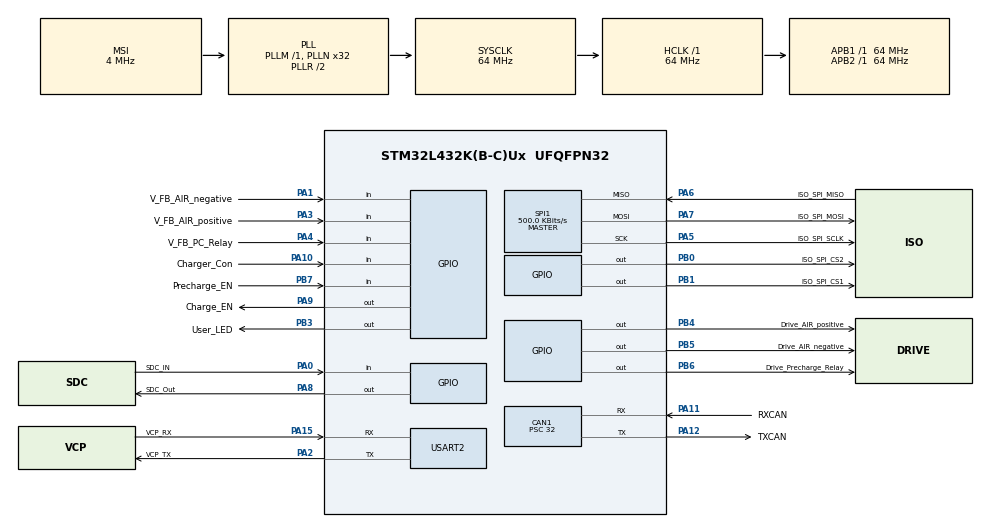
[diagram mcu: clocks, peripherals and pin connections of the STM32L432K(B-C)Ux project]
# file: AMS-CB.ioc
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CAN1.AWUM=ENABLE
CAN1.BS1=CAN_BS1_2TQ
CAN1.CalculateBaudRate=500000
CAN1.CalculateTimeBit=2000
CAN1.CalculateTimeQuantum=500.0
CAN1.NART=ENABLE
CAN1.Prescaler=32
CAN1.SJW=CAN_SJW_1TQ
Dma.Request0=USART2_TX
Dma.USART2_TX.0.Direction=DMA_MEMORY_TO_PERIPH
Dma.USART2_TX.0.Instance=DMA1_Channel7
Dma.USART2_TX.0.MemDataAlignment=DMA_MDATAALIGN_BYTE
Dma.USART2_TX.0.MemInc=DMA_MINC_ENABLE
Dma.USART2_TX.0.Mode=DMA_NORMAL
Dma.USART2_TX.0.PeriphDataAlignment=DMA_PDATAALIGN_BYTE
Dma.USART2_TX.0.PeriphInc=DMA_PINC_DISABLE
Dma.USART2_TX.0.Priority=DMA_PRIORITY_LOW
Mcu.Family=STM32L4
Mcu.Name=STM32L432K(B-C)Ux
Mcu.Package=UFQFPN32
NVIC.DMA1_Channel7_IRQn=true\:0\:0\:false\:false\:true\:false\:true\:true
NVIC.PriorityGroup=NVIC_PRIORITYGROUP_4
NVIC.TIM7_IRQn=true\:0\:0\:false\:false\:true\:true\:true\:true
NVIC.USART2_IRQn=true\:0\:0\:false\:false\:true\:true\:true\:true
PA0.GPIO_Label=SDC_IN
PA0.Signal=GPIO_Input
PA1.GPIO_Label=V_FB_AIR_negative
PA1.Signal=GPIO_Input
PA10.GPIO_Label=Charger_Con 
PA10.Signal=GPIO_Input
PA11.GPIO_Label=RXCAN 
PA11.Mode=CAN_Activate
PA11.Signal=CAN1_RX
PA12.GPIO_Label=TXCAN 
PA12.Mode=CAN_Activate
PA12.Signal=CAN1_TX
PA13\ (JTMS-SWDIO).GPIO_Label=SWDIO
PA13\ (JTMS-SWDIO).Mode=Serial_Wire
PA13\ (JTMS-SWDIO).Signal=SYS_JTMS-SWDIO
PA14\ (JTCK-SWCLK).GPIO_Label=SWCLK
PA14\ (JTCK-SWCLK).Mode=Serial_Wire
PA14\ (JTCK-SWCLK).Signal=SYS_JTCK-SWCLK
PA15\ (JTDI).GPIO_Label=VCP_RX
PA15\ (JTDI).Mode=Asynchronous
PA15\ (JTDI).Signal=USART2_RX
PA2.GPIO_Label=VCP_TX
PA2.Mode=Asynchronous
PA2.Signal=USART2_TX
PA3.GPIO_Label=V_FB_AIR_positive
PA3.Signal=GPIO_Input
PA4.GPIO_Label=V_FB_PC_Relay
PA4.Signal=GPIO_Input
PA5.GPIO_Label=ISO_SPI_SCLK 
PA5.Mode=Full_Duplex_Master
PA5.Signal=SPI1_SCK
PA6.GPIO_Label=ISO_SPI_MISO 
PA6.GPIO_PuPd=GPIO_PULLUP
PA6.Mode=Full_Duplex_Master
PA6.Signal=SPI1_MISO
PA7.GPIO_Label=ISO_SPI_MOSI 
PA7.Mode=Full_Duplex_Master
PA7.Signal=SPI1_MOSI
PA8.GPIO_Label=SDC_Out 
PA8.Signal=GPIO_Output
PA9.GPIO_Label=Charge_EN 
PA9.Signal=GPIO_Output
PB0.GPIO_Label=ISO_SPI_CS2
PB0.PinState=GPIO_PIN_SET
PB0.Signal=GPIO_Output
PB1.GPIO_Label=ISO_SPI_CS1
PB1.PinState=GPIO_PIN_SET
PB1.Signal=GPIO_Output
PB3\ (JTDO-TRACESWO).GPIO_Label=User_LED
PB3\ (JTDO-TRACESWO).Signal=GPIO_Output
PB4\ (NJTRST).GPIO_Label=Drive_AIR_positive 
PB4\ (NJTRST).Signal=GPIO_Output
PB5.GPIO_Label=Drive_AIR_negative 
PB5.Signal=GPIO_Output
PB6.GPIO_Label=Drive_Precharge_Relay 
PB6.Signal=GPIO_Output
PB7.GPIO_Label=Precharge_EN
PB7.Signal=GPIO_Input
PC14-OSC32_IN\ (PC14).Mode=LSE-External-Oscillator
PC14-OSC32_IN\ (PC14).Signal=RCC_OSC32_IN
PC15-OSC32_OUT\ (PC15).Mode=LSE-External-Oscillator
PC15-OSC32_OUT\ (PC15).Signal=RCC_OSC32_OUT
ProjectManager.HeapSize=0x200
ProjectManager.StackSize=0x400
ProjectManager.TargetToolchain=STM32CubeIDE
RCC.ADCFreq_Value=32000000
RCC.AHBFreq_Value=64000000
RCC.APB1Freq_Value=64000000
RCC.APB1TimFreq_Value=64000000
RCC.APB2Freq_Value=64000000
RCC.APB2TimFreq_Value=64000000
RCC.CortexFreq_Value=64000000
RCC.HCLKFreq_Value=64000000
RCC.HSE_VALUE=8000000
RCC.HSI16_VALUE=16000000
RCC.HSI48_VALUE=48000000
RCC.HSI_VALUE=16000000
RCC.MSI_VALUE=4000000
RCC.PLLMUL=RCC_PLLMUL_4
RCC.PLLN=32
RCC.PLLSAI1N=16
RCC.SYSCLKFreq_VALUE=64000000
RCC.SYSCLKSource=RCC_SYSCLKSOURCE_PLLCLK
RCC.USBFreq_Value=32000000
RCC.VCOOutputFreq_Value=128000000
SPI1.BaudRatePrescaler=SPI_BAUDRATEPRESCALER_128
SPI1.CLKPhase=SPI_PHASE_1EDGE
SPI1.CLKPolarity=SPI_POLARITY_LOW
SPI1.CalculateBaudRate=500.0 KBits/s
SPI1.DataSize=SPI_DATASIZE_8BIT
SPI1.Direction=SPI_DIRECTION_2LINES
SPI1.Mode=SPI_MODE_MASTER
SPI1.NSSPMode=SPI_NSS_PULSE_DISABLE
SPI1.VirtualType=VM_MASTER
TIM16.Prescaler=64000
TIM6.AutoReloadPreload=TIM_AUTORELOAD_PRELOAD_ENABLE
TIM6.Period=100
TIM6.Prescaler=64000
TIM6.TIM_MasterOutputTrigger=TIM_TRGO_RESET
TIM7.AutoReloadPreload=TIM_AUTORELOAD_PRELOAD_DISABLE
TIM7.Period=500
TIM7.Prescaler=64000
USART2.VirtualMode-Asynchronous=VM_ASYNC
VP_TIM16_VS_ClockSourceINT.Mode=Enable_Timer
VP_TIM6_VS_ClockSourceINT.Mode=Enable_Timer
VP_TIM7_VS_ClockSourceINT.Mode=Enable_Timer
board=NUCLEO-L432KC

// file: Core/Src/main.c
/* USER CODE BEGIN Header */
/**
  ******************************************************************************
  * @file           : main.c
  * @brief          : Main program body
  ******************************************************************************
  * @attention
  *
  * Copyright (c) 2024 STMicroelectronics.
  * All rights reserved.
  *
  * This software is licensed under terms that can be found in the LICENSE file
  * in the root directory of this software component.
  * If no LICENSE file comes with this software, it is provided AS-IS.
  *
  ******************************************************************************
  */
/* USER CODE END Header */
#include "main.h"

/* USER CODE BEGIN Includes */
#include <stdio.h>
#include <string.h>

//#include "SPI_MB.h"
#include "serial_monitor.h"
#include "battery.h"
#include "CAN_Bus.h"
/* USER CODE END Includes */

CAN_HandleTypeDef hcan1;

SPI_HandleTypeDef hspi1;

TIM_HandleTypeDef htim6;
TIM_HandleTypeDef htim7;
TIM_HandleTypeDef htim16;

UART_HandleTypeDef huart2;
DMA_HandleTypeDef hdma_usart2_tx;

void SystemClock_Config(void);
static void MX_GPIO_Init(void);
static void MX_DMA_Init(void);
static void MX_USART2_UART_Init(void);
static void MX_CAN1_Init(void);
static void MX_SPI1_Init(void);
static void MX_TIM6_Init(void);
static void MX_TIM7_Init(void);
static void MX_TIM16_Init(void);
/* USER CODE BEGIN PFP */

void HAL_TIM_PeriodElapsedCallback(TIM_HandleTypeDef *htim);

/* USER CODE END PFP */

int main(void)
{

  /* MCU Configuration--------------------------------------------------------*/

  /* Reset of all peripherals, Initializes the Flash interface and the Systick. */
  HAL_Init();

  /* Configure the system clock */
  SystemClock_Config();

  /* Initialize all configured peripherals */
  MX_GPIO_Init();
  MX_DMA_Init();
  MX_USART2_UART_Init();
  MX_CAN1_Init();
  MX_SPI1_Init();
  MX_TIM6_Init();
  MX_TIM7_Init();
  MX_TIM16_Init();
  /* USER CODE BEGIN 2 */

  // User Variables
  uint16_t GPIOA_Input = 0x0000;

  //>> Current measurement init
  ISA_IVT_Init();

  //>> SDC reset
  set_relays(0);
  SDC_reset();

  /* USER CODE END 2 */

  /* Infinite loop */
  /* USER CODE BEGIN WHILE */
  while (1)
  {
	//HAL_IWDG_Refresh(&hiwdg);		// optional System Watchdog

	//>> check 10 Hz Flag, timer 6
	if ((TIM6->SR & TIM_SR_UIF) != 0) {
		TIM6->SR &= ~TIM_SR_UIF;	// Clear the overflow flag
		// This code runs every 100ms

		//>> GPIOs lesen
		GPIOA_Input = GPIOA->IDR;

		//>> Check-Batterie
		check_battery();
		check_SDC_Feedback(GPIOA_Input);

		//>> charging logic
		charging(GPIOA_Input);

		//>> send system information to the ECU
		send_data2ECU(GPIOA_Input);

		//>> send the BatterySystem struct to the external Device via COM-Port
		SerialMonitor((uint8_t*)(&battery_values), sizeof(battery_values));

		//>> reset error flags after transmisson
		battery_reset_error_flags();

		set_time_per_measurement(TIM6->CNT + 100*((TIM6->SR & TIM_SR_UIF) != 0));

	}else{
		// outside 10Hz timer 6

		//>> receive one CAN command
		CAN_receive_packet();

	}
    /* USER CODE END WHILE */

  }
}

void SystemClock_Config(void)
{
  RCC_OscInitTypeDef RCC_OscInitStruct = {0};
  RCC_ClkInitTypeDef RCC_ClkInitStruct = {0};

  /** Configure the main internal regulator output voltage
  */
  if (HAL_PWREx_ControlVoltageScaling(PWR_REGULATOR_VOLTAGE_SCALE1) != HAL_OK)
  {
    Error_Handler();
  }

  /** Configure LSE Drive Capability
  */
  HAL_PWR_EnableBkUpAccess();
  __HAL_RCC_LSEDRIVE_CONFIG(RCC_LSEDRIVE_LOW);

  /** Initializes the RCC Oscillators according to the specified parameters
  * in the RCC_OscInitTypeDef structure.
  */
  RCC_OscInitStruct.OscillatorType = RCC_OSCILLATORTYPE_LSE|RCC_OSCILLATORTYPE_MSI;
  RCC_OscInitStruct.LSEState = RCC_LSE_ON;
  RCC_OscInitStruct.MSIState = RCC_MSI_ON;
  RCC_OscInitStruct.MSICalibrationValue = 0;
  RCC_OscInitStruct.MSIClockRange = RCC_MSIRANGE_6;
  RCC_OscInitStruct.PLL.PLLState = RCC_PLL_ON;
  RCC_OscInitStruct.PLL.PLLSource = RCC_PLLSOURCE_MSI;
  RCC_OscInitStruct.PLL.PLLM = 1;
  RCC_OscInitStruct.PLL.PLLN = 32;
  RCC_OscInitStruct.PLL.PLLP = RCC_PLLP_DIV7;
  RCC_OscInitStruct.PLL.PLLQ = RCC_PLLQ_DIV2;
  RCC_OscInitStruct.PLL.PLLR = RCC_PLLR_DIV2;
  if (HAL_RCC_OscConfig(&RCC_OscInitStruct) != HAL_OK)
  {
    Error_Handler();
  }

  /** Initializes the CPU, AHB and APB buses clocks
  */
  RCC_ClkInitStruct.ClockType = RCC_CLOCKTYPE_HCLK|RCC_CLOCKTYPE_SYSCLK
                              |RCC_CLOCKTYPE_PCLK1|RCC_CLOCKTYPE_PCLK2;
  RCC_ClkInitStruct.SYSCLKSource = RCC_SYSCLKSOURCE_PLLCLK;
  RCC_ClkInitStruct.AHBCLKDivider = RCC_SYSCLK_DIV1;
  RCC_ClkInitStruct.APB1CLKDivider = RCC_HCLK_DIV1;
  RCC_ClkInitStruct.APB2CLKDivider = RCC_HCLK_DIV1;

  if (HAL_RCC_ClockConfig(&RCC_ClkInitStruct, FLASH_LATENCY_3) != HAL_OK)
  {
    Error_Handler();
  }

  /** Enable MSI Auto calibration
  */
  HAL_RCCEx_EnableMSIPLLMode();
}

static void MX_CAN1_Init(void)
{

  hcan1.Instance = CAN1;
  hcan1.Init.Prescaler = 32;
  hcan1.Init.Mode = CAN_MODE_NORMAL;
  hcan1.Init.SyncJumpWidth = CAN_SJW_1TQ;
  hcan1.Init.TimeSeg1 = CAN_BS1_2TQ;
  hcan1.Init.TimeSeg2 = CAN_BS2_1TQ;
  hcan1.Init.TimeTriggeredMode = DISABLE;
  hcan1.Init.AutoBusOff = DISABLE;
  hcan1.Init.AutoWakeUp = ENABLE;
  hcan1.Init.AutoRetransmission = ENABLE;
  hcan1.Init.ReceiveFifoLocked = DISABLE;
  hcan1.Init.TransmitFifoPriority = DISABLE;
  if (HAL_CAN_Init(&hcan1) != HAL_OK)
  {
    Error_Handler();
  }
  /* USER CODE BEGIN CAN1_Init 2 */

  CAN_FilterTypeDef sFilterConfig;
  // Configure Filter for ECU on FIFO 0
  sFilterConfig.FilterBank = 0; // Use first filter bank
  sFilterConfig.FilterMode = CAN_FILTERMODE_IDLIST;
  sFilterConfig.FilterScale = CAN_FILTERSCALE_16BIT;
  sFilterConfig.FilterIdHigh = ADDR_ECU_RX << 5;
  sFilterConfig.FilterIdLow =  0x0000;
  sFilterConfig.FilterMaskIdHigh = 0x0000;
  sFilterConfig.FilterMaskIdLow = 0x0000;
  sFilterConfig.FilterFIFOAssignment = CAN_RX_FIFO0;
  sFilterConfig.FilterActivation = ENABLE;
  sFilterConfig.SlaveStartFilterBank = 14; // Only necessary for dual CAN setups

  HAL_StatusTypeDef init_status = HAL_CAN_ConfigFilter(&hcan1, &sFilterConfig);
  // Configure Filter for IVS on FIFO 1
  sFilterConfig.FilterBank = 1; // Use second filter bank
  sFilterConfig.FilterMode = 	CAN_FILTERMODE_IDLIST;
  sFilterConfig.FilterScale = 	CAN_FILTERSCALE_16BIT;
  sFilterConfig.FilterIdHigh = 		IVT_MSG_RESPONSE << 5;
  sFilterConfig.FilterIdLow =  		IVT_MSG_RESULT_I << 5;
  sFilterConfig.FilterMaskIdHigh = 	IVT_MSG_RESULT_T << 5;
  sFilterConfig.FilterMaskIdLow = 	IVT_MSG_RESULT_AS << 5;
  sFilterConfig.FilterFIFOAssignment = CAN_RX_FIFO1;
  sFilterConfig.FilterActivation = ENABLE;

  init_status |= HAL_CAN_ConfigFilter(&hcan1, &sFilterConfig);
  init_status |= HAL_CAN_Start(&hcan1); //start CAN

  if (init_status != HAL_OK)
  {
    Error_Handler();
  }

  /* USER CODE END CAN1_Init 2 */

}

static void MX_SPI1_Init(void)
{

  /* SPI1 parameter configuration*/
  hspi1.Instance = SPI1;
  hspi1.Init.Mode = SPI_MODE_MASTER;
  hspi1.Init.Direction = SPI_DIRECTION_2LINES;
  hspi1.Init.DataSize = SPI_DATASIZE_8BIT;
  hspi1.Init.CLKPolarity = SPI_POLARITY_LOW;
  hspi1.Init.CLKPhase = SPI_PHASE_1EDGE;
  hspi1.Init.NSS = SPI_NSS_SOFT;
  hspi1.Init.BaudRatePrescaler = SPI_BAUDRATEPRESCALER_128;
  hspi1.Init.FirstBit = SPI_FIRSTBIT_MSB;
  hspi1.Init.TIMode = SPI_TIMODE_DISABLE;
  hspi1.Init.CRCCalculation = SPI_CRCCALCULATION_DISABLE;
  hspi1.Init.CRCPolynomial = 7;
  hspi1.Init.CRCLength = SPI_CRC_LENGTH_DATASIZE;
  hspi1.Init.NSSPMode = SPI_NSS_PULSE_DISABLE;
  if (HAL_SPI_Init(&hspi1) != HAL_OK)
  {
    Error_Handler();
  }

}

static void MX_TIM6_Init(void)
{

  TIM_MasterConfigTypeDef sMasterConfig = {0};

  htim6.Instance = TIM6;
  htim6.Init.Prescaler = 64000;
  htim6.Init.CounterMode = TIM_COUNTERMODE_UP;
  htim6.Init.Period = 100;
  htim6.Init.AutoReloadPreload = TIM_AUTORELOAD_PRELOAD_ENABLE;
  if (HAL_TIM_Base_Init(&htim6) != HAL_OK)
  {
    Error_Handler();
  }
  sMasterConfig.MasterOutputTrigger = TIM_TRGO_RESET;
  sMasterConfig.MasterSlaveMode = TIM_MASTERSLAVEMODE_DISABLE;
  if (HAL_TIMEx_MasterConfigSynchronization(&htim6, &sMasterConfig) != HAL_OK)
  {
    Error_Handler();
  }
  /* USER CODE BEGIN TIM6_Init 2 */

  HAL_TIM_Base_Start(&htim6);		// start timer6 for 10Hz flag

  /* USER CODE END TIM6_Init 2 */

}

static void MX_TIM7_Init(void)
{

  TIM_MasterConfigTypeDef sMasterConfig = {0};

  htim7.Instance = TIM7;
  htim7.Init.Prescaler = 64000;
  htim7.Init.CounterMode = TIM_COUNTERMODE_UP;
  htim7.Init.Period = 500;
  htim7.Init.AutoReloadPreload = TIM_AUTORELOAD_PRELOAD_DISABLE;
  if (HAL_TIM_Base_Init(&htim7) != HAL_OK)
  {
    Error_Handler();
  }
  sMasterConfig.MasterOutputTrigger = TIM_TRGO_RESET;
  sMasterConfig.MasterSlaveMode = TIM_MASTERSLAVEMODE_DISABLE;
  if (HAL_TIMEx_MasterConfigSynchronization(&htim7, &sMasterConfig) != HAL_OK)
  {
    Error_Handler();
  }
  /* USER CODE BEGIN TIM7_Init 2 */

  //HAL_TIM_Base_Start_IT(&htim7);		// start timer7 for 500ms timeout

  /* USER CODE END TIM7_Init 2 */

}

static void MX_TIM16_Init(void)
{

  htim16.Instance = TIM16;
  htim16.Init.Prescaler = 64000;
  htim16.Init.CounterMode = TIM_COUNTERMODE_UP;
  htim16.Init.Period = 65535;
  htim16.Init.ClockDivision = TIM_CLOCKDIVISION_DIV1;
  htim16.Init.RepetitionCounter = 0;
  htim16.Init.AutoReloadPreload = TIM_AUTORELOAD_PRELOAD_DISABLE;
  if (HAL_TIM_Base_Init(&htim16) != HAL_OK)
  {
    Error_Handler();
  }
  /* USER CODE BEGIN TIM16_Init 2 */

  HAL_TIM_Base_Start(&htim16);		// start timer16 for IVT-S watch

  /* USER CODE END TIM16_Init 2 */

}

static void MX_USART2_UART_Init(void)
{

  huart2.Instance = USART2;
  huart2.Init.BaudRate = 115200;
  huart2.Init.WordLength = UART_WORDLENGTH_8B;
  huart2.Init.StopBits = UART_STOPBITS_1;
  huart2.Init.Parity = UART_PARITY_NONE;
  huart2.Init.Mode = UART_MODE_TX_RX;
  huart2.Init.HwFlowCtl = UART_HWCONTROL_NONE;
  huart2.Init.OverSampling = UART_OVERSAMPLING_16;
  huart2.Init.OneBitSampling = UART_ONE_BIT_SAMPLE_DISABLE;
  huart2.AdvancedInit.AdvFeatureInit = UART_ADVFEATURE_NO_INIT;
  if (HAL_UART_Init(&huart2) != HAL_OK)
  {
    Error_Handler();
  }
  /* USER CODE BEGIN USART2_Init 2 */

  __HAL_LINKDMA(&huart2, hdmatx, hdma_usart2_tx);

  /* USER CODE END USART2_Init 2 */

}

static void MX_DMA_Init(void)
{

  /* DMA controller clock enable */
  __HAL_RCC_DMA1_CLK_ENABLE();

  /* DMA interrupt init */
  /* DMA1_Channel7_IRQn interrupt configuration */
  HAL_NVIC_SetPriority(DMA1_Channel7_IRQn, 0, 0);
  HAL_NVIC_EnableIRQ(DMA1_Channel7_IRQn);

}

static void MX_GPIO_Init(void)
{
  GPIO_InitTypeDef GPIO_InitStruct = {0};

  /* GPIO Ports Clock Enable */
  __HAL_RCC_GPIOC_CLK_ENABLE();
  __HAL_RCC_GPIOA_CLK_ENABLE();
  __HAL_RCC_GPIOB_CLK_ENABLE();

  /*Configure GPIO pin Output Level */
  HAL_GPIO_WritePin(GPIOB, ISO_SPI_CS2_Pin|ISO_SPI_CS1_Pin, GPIO_PIN_SET);

  /*Configure GPIO pin Output Level */
  HAL_GPIO_WritePin(GPIOA, SDC_Out_Pin|Charge_EN_Pin, GPIO_PIN_RESET);

  /*Configure GPIO pin Output Level */
  HAL_GPIO_WritePin(GPIOB, User_LED_Pin|Drive_AIR_positive_Pin|Drive_AIR_negative_Pin|Drive_Precharge_Relay_Pin, GPIO_PIN_RESET);

  /*Configure GPIO pins : SDC_IN_Pin V_FB_AIR_negative_Pin V_FB_AIR_positive_Pin V_FB_PC_Relay_Pin
                           Charger_Con_Pin */
  GPIO_InitStruct.Pin = SDC_IN_Pin|V_FB_AIR_negative_Pin|V_FB_AIR_positive_Pin|V_FB_PC_Relay_Pin
                          |Charger_Con_Pin;
  GPIO_InitStruct.Mode = GPIO_MODE_INPUT;
  GPIO_InitStruct.Pull = GPIO_NOPULL;
  HAL_GPIO_Init(GPIOA, &GPIO_InitStruct);

  /*Configure GPIO pins : ISO_SPI_CS2_Pin ISO_SPI_CS1_Pin User_LED_Pin Drive_AIR_positive_Pin
                           Drive_AIR_negative_Pin Drive_Precharge_Relay_Pin */
  GPIO_InitStruct.Pin = ISO_SPI_CS2_Pin|ISO_SPI_CS1_Pin|User_LED_Pin|Drive_AIR_positive_Pin
                          |Drive_AIR_negative_Pin|Drive_Precharge_Relay_Pin;
  GPIO_InitStruct.Mode = GPIO_MODE_OUTPUT_PP;
  GPIO_InitStruct.Pull = GPIO_NOPULL;
  GPIO_InitStruct.Speed = GPIO_SPEED_FREQ_LOW;
  HAL_GPIO_Init(GPIOB, &GPIO_InitStruct);

  /*Configure GPIO pins : SDC_Out_Pin Charge_EN_Pin */
  GPIO_InitStruct.Pin = SDC_Out_Pin|Charge_EN_Pin;
  GPIO_InitStruct.Mode = GPIO_MODE_OUTPUT_PP;
  GPIO_InitStruct.Pull = GPIO_NOPULL;
  GPIO_InitStruct.Speed = GPIO_SPEED_FREQ_LOW;
  HAL_GPIO_Init(GPIOA, &GPIO_InitStruct);

  /*Configure GPIO pin : Precharge_EN_Pin */
  GPIO_InitStruct.Pin = Precharge_EN_Pin;
  GPIO_InitStruct.Mode = GPIO_MODE_INPUT;
  GPIO_InitStruct.Pull = GPIO_NOPULL;
  HAL_GPIO_Init(Precharge_EN_GPIO_Port, &GPIO_InitStruct);

}

/* USER CODE BEGIN 4 */

void HAL_TIM_PeriodElapsedCallback(TIM_HandleTypeDef *htim)
{
  if (htim->Instance == TIM7)
  {
    // TIM7 overflow callback
	GPIOA->BSRR = SDC_Out_Pin<<16;	// SDC low
	set_battery_error_flag(ERROR_SDC);
  }
}

void HAL_UART_TxCpltCallback(UART_HandleTypeDef *huart) {
    if (huart->Instance == USART2) {
        // Transmission complete handling code

    }
}

/* USER CODE END 4 */

void Error_Handler(void)
{
  /* USER CODE BEGIN Error_Handler_Debug */
  /* User can add his own implementation to report the HAL error return state */
  //__disable_irq();
  while (1)
  {
	  send_data2ECU(0);
	  // watchdog occurs after 100 ms
	  HAL_Delay(1000);
  }
  /* USER CODE END Error_Handler_Debug */
}
